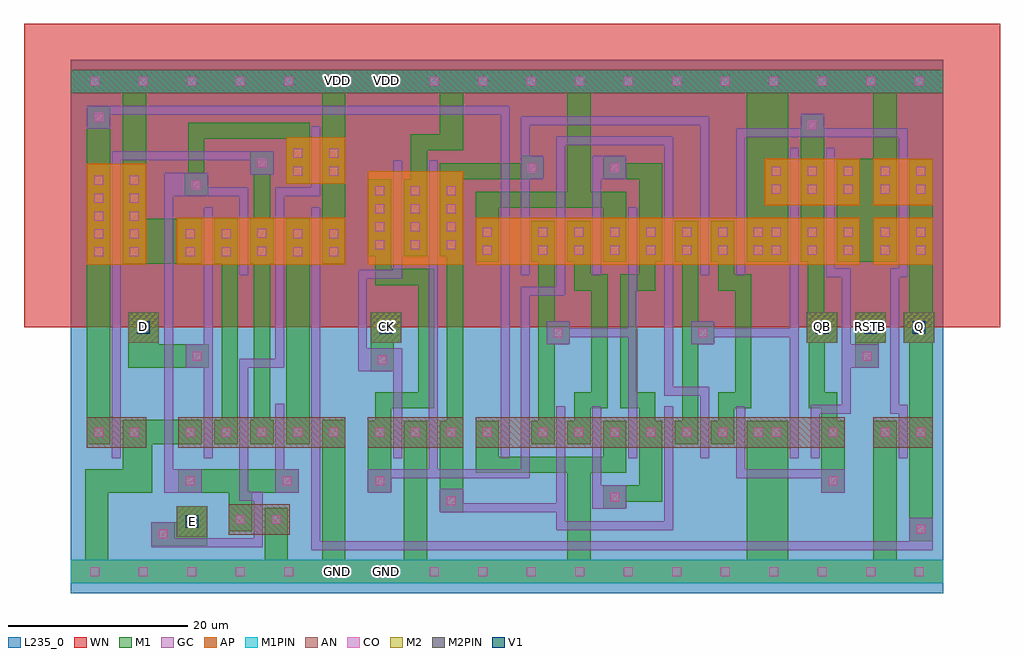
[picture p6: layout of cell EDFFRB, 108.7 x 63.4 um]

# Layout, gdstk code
import gdstk
lib = gdstk.Library(unit=1e-6, precision=1e-09)
def R(c, l, rs):  # rectangles x0, y0, x1, y1
    for r in rs: c.add(gdstk.rectangle(r[:2], r[2:], *l))
def A(c, l, x, y, w, h, nx, ny, dx, dy):  # array of equal rectangles
    R(c, l, [(x+i*dx, y+j*dy, x+i*dx+w, y+j*dy+h) for i in range(nx) for j in range(ny)])
def P(c, l, *ps):  # polygons
    for p in ps: c.add(gdstk.Polygon(p, *l))
AP = (3, 1)
AN = (3, 2)
GC = (8, 1)
CO = (11, 0)
M1 = (13, 0)
V1 = (19, 0)
M2 = (20, 0)
M1PIN = (48, 1)
M2PIN = (49, 1)
WN = (140, 0)
L235_0 = (235, 0)

edffrb = lib.new_cell('EDFFRB')
R(edffrb, AP, [(0,1.1,32.4,3.7), (32.4,1.1,71.4,3.7), (71.4,1.1,97.2,3.7), (1.8,36.6,8.4,47.8), (11.8,36.6,30.6,41.8), (33.1,36.6,43.7,47), (45.1,36.6,71.4,41.8), (71.4,36.6,87.9,41.8), (89.4,36.6,96,41.8), (77.3,43.2,87.9,48.4), (89.4,43.2,96,48.4), (24,45.6,30.6,50.8)])
R(edffrb, AN, [(17.6,6.5,24.4,9.9), (1.8,16.2,8.4,19.6), (12,16.2,30.6,19.6), (33.1,16.2,43.7,19.6), (45.1,16.2,71.4,19.6), (71.4,16.2,86.2,19.6), (89.4,16.2,96,19.6), (0,55.7,32.4,58.3), (32.4,55.7,71.4,58.3), (71.4,55.7,97.2,58.3)])
P(edffrb, GC, [(26.8,4.8),(26.8,14.8),(26.8,43),(27.8,43),(27.8,15.8),(27.8,5.8),(93.4,5.8),(93.4,8.4),(96,8.4),(96,4.8)],
  [(22.8,11.2),(22.8,21.1),(23.8,21.1),(23.8,13.8),(25.4,13.8),(25.4,11.2)],
  [(58.1,9.4),(58.1,20.8),(59.1,20.8),(59.1,12),(61.9,12),(61.9,9.4)],
  [(54.1,7),(54.1,9),(41.1,9),(41.1,11.6),(43.7,11.6),(43.7,10),(54.1,10),(54.1,20.8),(55.1,20.8),(55.1,8),(66.1,8),(66.1,20.8),(67.1,20.8),(67.1,7)],
  [(83.6,11.2),(83.6,12.8),(74.1,12.8),(74.1,20.8),(75.1,20.8),(75.1,13.8),(86.2,13.8),(86.2,11.2)],
  [(14.8,15),(14.8,25.1),(12.8,25.1),(12.8,27.7),(14.8,27.7),(14.8,43),(15.8,43),(15.8,15)],
  [(62.1,15),(62.1,28.5),(55.6,28.5),(55.6,27.7),(53,27.7),(53,30.3),(55.6,30.3),(55.6,29.5),(62.1,29.5),(62.1,43),(63.1,43),(63.1,15)],
  [(10.4,11.2),(10.4,46.8),(15.3,46.8),(15.3,45.2),(19.8,45.2),(19.8,35.4),(18.8,35.4),(18.8,44.2),(11.4,44.2),(11.4,13.8),(14.6,13.8),(14.6,11.2)],
  [(35.9,15),(35.9,24.7),(32,24.7),(32,36),(35.9,36),(35.9,48.2),(36.9,48.2),(36.9,35),(33,35),(33,27.3),(36.9,27.3),(36.9,15)],
  [(58.1,35.4),(58.1,48.7),(61.9,48.7),(61.9,46.1),(59.1,46.1),(59.1,35.4)],
  [(4.6,15),(4.6,49.2),(22.6,49.2),(22.6,46.6),(20,46.6),(20,48.2),(5.6,48.2),(5.6,15)],
  [(80.1,15),(80.1,28.5),(71.7,28.5),(71.7,27.7),(69.1,27.7),(69.1,30.3),(71.7,30.3),(71.7,29.5),(80.1,29.5),(80.1,49.6),(81.1,49.6),(81.1,15)],
  [(82.4,15),(82.4,21),(85.9,21),(85.9,35.2),(84.1,35.2),(84.1,49.6),(85.1,49.6),(85.1,36.2),(86.9,36.2),(86.9,27.7),(90,27.7),(90,25.1),(86.9,25.1),(86.9,20),(83.4,20),(83.4,15)],
  [(33.1,11.2),(33.1,13.8),(39.9,13.8),(39.9,48.2),(40.9,48.2),(40.9,13.8),(50.1,13.8),(50.1,34.1),(54.1,34.1),(54.1,50.9),(67.1,50.9),(67.1,23),(71.1,23),(71.1,15),(70.1,15),(70.1,22),(66.1,22),(66.1,49.9),(55.1,49.9),(55.1,33.1),(51.1,33.1),(51.1,12.8),(35.7,12.8),(35.7,11.2)],
  [(9,5.1),(9,7.9),(11.6,7.9),(11.6,6.1),(20.4,6.1),(20.4,10.3),(18.8,10.3),(18.8,26.1),(22.8,26.1),(22.8,45.2),(26.8,45.2),(26.8,52),(27.8,52),(27.8,44.2),(23.8,44.2),(23.8,25.1),(19.8,25.1),(19.8,11.3),(21.4,11.3),(21.4,5.1)],
  [(50.1,35.4),(50.1,53.1),(71.1,53.1),(71.1,35.4),(70.1,35.4),(70.1,52.1),(51.1,52.1),(51.1,48.7),(52.7,48.7),(52.7,46.1),(51.1,46.1),(51.1,35.4)],
  [(92.2,15),(92.2,20),(91.3,20),(91.3,36.2),(92.2,36.2),(92.2,50.8),(75.1,50.8),(75.1,35.4),(74.1,35.4),(74.1,51.8),(81.3,51.8),(81.3,53.4),(83.9,53.4),(83.9,51.8),(93.2,51.8),(93.2,35.2),(92.3,35.2),(92.3,21),(93.2,21),(93.2,15)],
  [(47.9,15),(47.9,53.3),(4.4,53.3),(4.4,51.7),(1.8,51.7),(1.8,54.3),(48.9,54.3),(48.9,15)])
A(edffrb, CO, 2.2, 1.9, 1, 1, 18, 2, 5.4, 54.6)
A(edffrb, CO, 12.8, 17.4, 1, 1, 5, 1, 4, 0)
A(edffrb, CO, 33.9, 17.4, 1, 1, 4, 1, 4, 0)
A(edffrb, CO, 2.6, 37.5, 1, 1, 1, 5, 0, 2)
A(edffrb, CO, 6.6, 37.5, 1, 1, 1, 5, 0, 2)
A(edffrb, CO, 33.9, 38.3, 1, 1, 3, 4, 4, 2)
R(edffrb, CO, [(9.8,6.1,10.8,7.1), (94.2,6.6,95.2,7.6), (18.4,7.7,19.4,8.7), (22.4,7.7,23.4,8.7), (41.9,9.8,42.9,10.8), (60.1,10.2,61.1,11.2), (12.8,12,13.8,13), (23.6,12,24.6,13), (33.9,12,34.9,13), (84.4,12,85.4,13), (2.6,17.4,3.6,18.4), (6.6,17.4,7.6,18.4), (52.1,17.4,53.1,18.4), (52.1,17.4,53.1,18.4), (56.1,17.4,57.1,18.4), (56.1,17.4,57.1,18.4), (60.1,17.4,61.1,18.4), (60.1,17.4,61.1,18.4), (60.1,17.4,61.1,18.4), (60.1,17.4,61.1,18.4), (64.1,17.4,65.1,18.4), (64.1,17.4,65.1,18.4), (68.1,17.4,69.1,18.4), (68.1,17.4,69.1,18.4), (68.1,17.4,69.1,18.4), (68.1,17.4,69.1,18.4), (72.1,17.4,73.1,18.4), (72.1,17.4,73.1,18.4), (76.1,17.4,77.1,18.4), (78.1,17.4,79.1,18.4), (78.1,17.4,79.1,18.4), (78.1,17.4,79.1,18.4), (78.1,17.4,79.1,18.4), (78.1,17.4,79.1,18.4), (78.1,17.4,79.1,18.4), (84.4,17.4,85.4,18.4), (90.2,17.4,91.2,18.4), (90.2,17.4,91.2,18.4), (94.2,17.4,95.2,18.4), (34.2,25.5,35.2,26.5), (13.6,25.9,14.6,26.9), (88.2,25.9,89.2,26.9), (53.8,28.5,54.8,29.5), (69.9,28.5,70.9,29.5), (12.8,37.5,13.8,38.5), (16.8,37.5,17.8,38.5), (24.8,37.5,25.8,38.5), (28.8,37.5,29.8,38.5), (20.8,37.6,21.8,38.6), (45.9,37.7,46.9,38.7), (52.1,37.7,53.1,38.7), (52.1,37.7,53.1,38.7), (56.1,37.7,57.1,38.7), (56.1,37.7,57.1,38.7), (60.1,37.7,61.1,38.7), (60.1,37.7,61.1,38.7), (60.1,37.7,61.1,38.7), (60.1,37.7,61.1,38.7), (64.1,37.7,65.1,38.7), (64.1,37.7,65.1,38.7), (68.1,37.7,69.1,38.7), (68.1,37.7,69.1,38.7), (68.1,37.7,69.1,38.7), (68.1,37.7,69.1,38.7), (72.1,37.7,73.1,38.7), (72.1,37.7,73.1,38.7), (76.1,37.7,77.1,38.7), (78.1,37.7,79.1,38.7), (78.1,37.7,79.1,38.7), (78.1,37.7,79.1,38.7), (78.1,37.7,79.1,38.7), (78.1,37.7,79.1,38.7), (82.1,37.7,83.1,38.7), (82.1,37.7,83.1,38.7), (82.1,37.7,83.1,38.7), (86.1,37.7,87.1,38.7), (86.1,37.7,87.1,38.7), (86.1,37.7,87.1,38.7), (90.2,37.7,91.2,38.7), (90.2,37.7,91.2,38.7), (94.2,37.7,95.2,38.7), (94.2,37.7,95.2,38.7), (12.8,39.5,13.8,40.5), (16.8,39.5,17.8,40.5), (24.8,39.5,25.8,40.5), (28.8,39.5,29.8,40.5), (20.8,39.6,21.8,40.6), (45.9,39.7,46.9,40.7), (52.1,39.7,53.1,40.7), (52.1,39.7,53.1,40.7), (56.1,39.7,57.1,40.7), (56.1,39.7,57.1,40.7), (60.1,39.7,61.1,40.7), (60.1,39.7,61.1,40.7), (60.1,39.7,61.1,40.7), (60.1,39.7,61.1,40.7), (64.1,39.7,65.1,40.7), (64.1,39.7,65.1,40.7), (68.1,39.7,69.1,40.7), (68.1,39.7,69.1,40.7), (68.1,39.7,69.1,40.7), (68.1,39.7,69.1,40.7), (72.1,39.7,73.1,40.7), (72.1,39.7,73.1,40.7), (76.1,39.7,77.1,40.7), (78.1,39.7,79.1,40.7), (78.1,39.7,79.1,40.7), (78.1,39.7,79.1,40.7), (78.1,39.7,79.1,40.7), (78.1,39.7,79.1,40.7), (78.1,39.7,79.1,40.7), (82.1,39.7,83.1,40.7), (82.1,39.7,83.1,40.7), (82.1,39.7,83.1,40.7), (86.1,39.7,87.1,40.7), (86.1,39.7,87.1,40.7), (86.1,39.7,87.1,40.7), (90.2,39.7,91.2,40.7), (90.2,39.7,91.2,40.7), (94.2,39.7,95.2,40.7), (94.2,39.7,95.2,40.7), (78.1,44.5,79.1,45.5), (82.1,44.5,83.1,45.5), (82.1,44.5,83.1,45.5), (82.1,44.5,83.1,45.5), (86.1,44.5,87.1,45.5), (86.1,44.5,87.1,45.5), (86.1,44.5,87.1,45.5), (90.2,44.5,91.2,45.5), (90.2,44.5,91.2,45.5), (90.2,44.5,91.2,45.5), (90.2,44.5,91.2,45.5), (94.2,44.5,95.2,45.5), (94.2,44.5,95.2,45.5), (13.5,45,14.5,46), (24.8,46.5,25.8,47.5), (28.8,46.5,29.8,47.5), (78.1,46.5,79.1,47.5), (82.1,46.5,83.1,47.5), (82.1,46.5,83.1,47.5), (82.1,46.5,83.1,47.5), (86.1,46.5,87.1,47.5), (86.1,46.5,87.1,47.5), (86.1,46.5,87.1,47.5), (90.2,46.5,91.2,47.5), (90.2,46.5,91.2,47.5), (90.2,46.5,91.2,47.5), (90.2,46.5,91.2,47.5), (94.2,46.5,95.2,47.5), (94.2,46.5,95.2,47.5), (50.9,46.9,51.9,47.9), (60.1,46.9,61.1,47.9), (20.8,47.4,21.8,48.4), (24.8,48.5,25.8,49.5), (28.8,48.5,29.8,49.5), (82.1,51.6,83.1,52.6), (2.6,52.5,3.6,53.5)])
R(edffrb, M1, [(1.8,16.6,4.4,54.3), (24,16.6,26.6,41.7)])
P(edffrb, M1, [(93.4,5.8),(93.4,27.9),(92.8,27.9),(92.8,31.3),(93.4,31.3),(93.4,48.4),(96,48.4),(96,31.3),(96.2,31.3),(96.2,27.9),(96,27.9),(96,5.8)],
  [(17.6,6.9),(17.6,11.2),(12,11.2),(12,13.8),(25.4,13.8),(25.4,11.2),(20.2,11.2),(20.2,6.9)],
  [(9,5.3),(9,7.9),(11.8,7.9),(11.8,9.7),(15.2,9.7),(15.2,5.3)],
  [(0,1.1),(0,3.7),(1.6,3.7),(1.6,13.8),(5.8,13.8),(5.8,19.3),(14.6,19.3),(14.6,16.6),(9.1,16.6),(9.1,11.2),(4.2,11.2),(4.2,3.7),(21.6,3.7),(21.6,9.5),(24.2,9.5),(24.2,3.7),(28,3.7),(28,19.3),(30.6,19.3),(30.6,3.7),(37.1,3.7),(37.1,19.2),(39.7,19.2),(39.7,3.7),(55.3,3.7),(55.3,13.4),(45.1,13.4),(45.1,19.2),(47.7,19.2),(47.7,15.2),(59.3,15.2),(59.3,19.2),(61.9,19.2),(61.9,13.4),(57.9,13.4),(57.9,3.7),(75.3,3.7),(75.3,19.2),(79.9,19.2),(79.9,3.7),(89.4,3.7),(89.4,19.2),(92,19.2),(92,3.7),(97.2,3.7),(97.2,1.1)],
  [(6.4,25.1),(6.4,31.3),(9.8,31.3),(9.8,27.7),(15.4,27.7),(15.4,25.1)],
  [(33.4,24.7),(33.4,31.3),(36.8,31.3),(36.8,27.9),(36,27.9),(36,24.7)],
  [(87.4,25.1),(87.4,31.3),(90.8,31.3),(90.8,27.9),(90,27.9),(90,25.1)],
  [(51.3,16.6),(51.3,19.2),(52.1,19.2),(52.1,36.9),(51.3,36.9),(51.3,41.5),(53.9,41.5),(53.9,30.3),(55.6,30.3),(55.6,27.7),(53.9,27.7),(53.9,16.6)],
  [(55.3,16.6),(55.3,19.2),(56.1,19.2),(56.1,22.4),(58,22.4),(58,33.7),(56.1,33.7),(56.1,36.9),(55.3,36.9),(55.3,41.5),(57.9,41.5),(57.9,35.5),(59.8,35.5),(59.8,20.6),(57.9,20.6),(57.9,16.6)],
  [(67.3,16.6),(67.3,19.2),(68.1,19.2),(68.1,36.9),(67.3,36.9),(67.3,41.5),(69.9,41.5),(69.9,30.3),(71.7,30.3),(71.7,27.7),(69.9,27.7),(69.9,16.6)],
  [(71.3,16.6),(71.3,19.2),(72.1,19.2),(72.1,22.4),(74,22.4),(74,33.7),(72.1,33.7),(72.1,36.9),(71.3,36.9),(71.3,41.5),(73.9,41.5),(73.9,35.5),(75.8,35.5),(75.8,20.6),(73.9,20.6),(73.9,16.6)],
  [(16,16.6),(16,19.3),(16.8,19.3),(16.8,36.7),(16,36.7),(16,41.7),(18.6,41.7),(18.6,16.6)],
  [(33.1,11.2),(33.1,19.2),(33.9,19.2),(33.9,22.4),(38.7,22.4),(38.7,34.3),(33.9,34.3),(33.9,37.5),(33.1,37.5),(33.1,46.1),(35.7,46.1),(35.7,36.1),(40.5,36.1),(40.5,20.6),(35.7,20.6),(35.7,11.2)],
  [(41.1,9),(41.1,19.2),(41.9,19.2),(41.9,37.5),(41.1,37.5),(41.1,47.9),(50.1,47.9),(50.1,48.7),(52.7,48.7),(52.7,46.1),(43.7,46.1),(43.7,9)],
  [(59.3,9.4),(59.3,12),(63.3,12),(63.3,20.6),(61.2,20.6),(61.2,35.5),(63.3,35.5),(63.3,46.1),(59.3,46.1),(59.3,48.7),(61.9,48.7),(61.9,47.9),(65.9,47.9),(65.9,36.9),(65.1,36.9),(65.1,33.7),(63,33.7),(63,22.4),(65.1,22.4),(65.1,19.2),(65.9,19.2),(65.9,10.2),(61.9,10.2),(61.9,9.4)],
  [(20,16.6),(20,19.3),(20.4,19.3),(20.4,36.7),(20,36.7),(20,41.7),(20.4,41.7),(20.4,46.6),(20,46.6),(20,49.2),(22.6,49.2),(22.6,46.6),(22.2,46.6),(22.2,41.7),(22.6,41.7),(22.6,36.7),(22.2,36.7),(22.2,19.3),(22.6,19.3),(22.6,16.6)],
  [(12.7,44.2),(12.7,46.8),(13.1,46.8),(13.1,52.4),(26.6,52.4),(26.6,45.6),(24,45.6),(24,50.6),(14.9,50.6),(14.9,46.8),(15.3,46.8),(15.3,44.2)],
  [(83.6,11.2),(83.6,20.6),(82.2,20.6),(82.2,27.9),(82,27.9),(82,31.3),(82.1,31.3),(82.1,36.9),(81.3,36.9),(81.3,53.4),(83.9,53.4),(83.9,31.3),(85.4,31.3),(85.4,27.9),(84,27.9),(84,22.4),(85.4,22.4),(85.4,19.2),(86.2,19.2),(86.2,11.2)],
  [(5.8,36.7),(5.8,55.7),(0,55.7),(0,58.3),(97.2,58.3),(97.2,55.7),(92,55.7),(92,36.9),(85.3,36.9),(85.3,48.4),(89.4,48.4),(89.4,55.7),(79.9,55.7),(79.9,36.9),(75.3,36.9),(75.3,55.7),(57.9,55.7),(57.9,44.7),(61.9,44.7),(61.9,36.9),(59.3,36.9),(59.3,42.9),(47.7,42.9),(47.7,36.9),(45.1,36.9),(45.1,44.7),(55.3,44.7),(55.3,55.7),(43.7,55.7),(43.7,49.3),(39.7,49.3),(39.7,37.5),(37.1,37.5),(37.1,46.1),(37.9,46.1),(37.9,51.1),(41.1,51.1),(41.1,55.7),(30.6,55.7),(30.6,36.7),(28,36.7),(28,55.7),(8.4,55.7),(8.4,41.7),(14.6,41.7),(14.6,36.7)])
A(edffrb, V1, 83, 28.9, 1.4, 1.4, 3, 1, 5.4, 0)
R(edffrb, V1, [(12.8,7.3,14.2,8.7), (7.4,28.9,8.8,30.3), (7.4,28.9,8.8,30.3), (7.4,28.9,8.8,30.3), (7.4,28.9,8.8,30.3), (34.4,28.9,35.8,30.3), (83,28.9,84.4,30.3)])
A(edffrb, M2, 82, 27.9, 3.4, 3.4, 3, 1, 5.4, 0)
R(edffrb, M2, [(11.8,6.3,15.2,9.7), (6.4,27.9,9.8,31.3), (6.4,27.9,9.8,31.3), (6.4,27.9,9.8,31.3), (6.4,27.9,9.8,31.3), (33.4,27.9,36.8,31.3), (82,27.9,85.4,31.3)])
R(edffrb, M1PIN, [(0,1.1,32.4,3.7), (32.4,1.1,71.4,3.7), (32.4,1.1,97.2,3.7), (0,55.7,32.4,58.3), (32.4,55.7,71.4,58.3), (32.4,55.7,97.2,58.3)])
A(edffrb, M2PIN, 82, 27.9, 3.4, 3.4, 3, 1, 5.4, 0)
R(edffrb, M2PIN, [(11.8,6.3,15.2,9.7), (6.4,27.9,9.8,31.3), (33.4,27.9,36.8,31.3), (82,27.9,85.4,31.3)])
R(edffrb, WN, [(-5.2,29.6,103.5,63.4)])
R(edffrb, L235_0, [(0,0,97.2,59.4)])
edffrb.add(gdstk.Label('D', (8.1,29.7), layer=49, texttype=0))
edffrb.add(gdstk.Label('E', (13.6,8), layer=49, texttype=0))
edffrb.add(gdstk.Label('CK', (35.2,29.7), layer=49, texttype=0))
edffrb.add(gdstk.Label('RSTB', (89.1,29.7), layer=49, texttype=0))
edffrb.add(gdstk.Label('QB', (83.7,29.7), layer=49, texttype=0))
edffrb.add(gdstk.Label('QB', (83.7,29.7), layer=49, texttype=0))
edffrb.add(gdstk.Label('Q', (94.5,29.7), layer=49, texttype=0))
edffrb.add(gdstk.Label('GND', (29.7,2.4), layer=48, texttype=0))
edffrb.add(gdstk.Label('VDD', (29.7,57.1), layer=48, texttype=0))
edffrb.add(gdstk.Label('GND', (35.2,2.4), layer=48, texttype=0))
edffrb.add(gdstk.Label('GND', (35.1,2.4), layer=48, texttype=0))
edffrb.add(gdstk.Label('VDD', (35.2,57.1), layer=48, texttype=0))
edffrb.add(gdstk.Label('VDD', (35.1,57.1), layer=48, texttype=0))

lib.write_gds('EDFFRB.gds')
